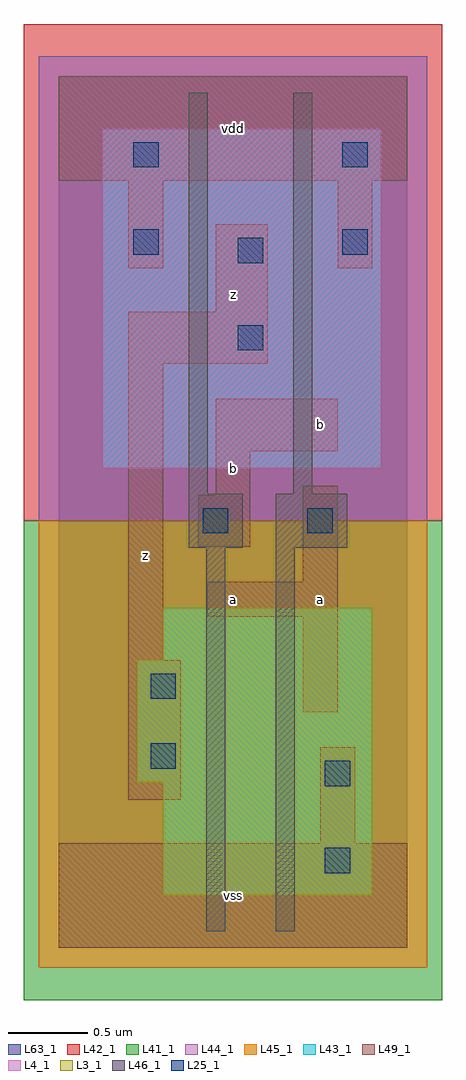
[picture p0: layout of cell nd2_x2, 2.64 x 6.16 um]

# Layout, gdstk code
import gdstk
lib = gdstk.Library(unit=1e-6, precision=1e-09)
def R(c, l, rs):  # rectangles x0, y0, x1, y1
    for r in rs: c.add(gdstk.rectangle(r[:2], r[2:], *l))
L3_1 = (3, 1)
L4_1 = (4, 1)
L25_1 = (25, 1)
L41_1 = (41, 1)
L42_1 = (42, 1)
L43_1 = (43, 1)
L44_1 = (44, 1)
L45_1 = (45, 1)
L46_1 = (46, 1)
L49_1 = (49, 1)
L63_1 = (63, 1)

nd2_x2 = lib.new_cell('nd2_x2')
R(nd2_x2, L3_1, [(0.66,0.33,1.98,1.045), (0.495,1.045,1.98,1.815), (0.66,1.815,1.98,2.145)])
R(nd2_x2, L4_1, [(0.275,3.025,2.035,5.17)])
R(nd2_x2, L25_1, [(1.68,0.47,1.84,0.63), (1.68,1.02,1.84,1.18), (0.58,1.13,0.74,1.29), (0.58,1.57,0.74,1.73), (0.91,2.615,1.07,2.775), (1.57,2.615,1.73,2.775), (1.13,3.77,1.29,3.93), (1.13,4.32,1.29,4.48), (0.47,4.375,0.63,4.535), (1.79,4.375,1.95,4.535), (0.47,4.925,0.63,5.085), (1.79,4.925,1.95,5.085)])
R(nd2_x2, L41_1, [(-0.22,-0.33,2.42,2.695)])
R(nd2_x2, L42_1, [(-0.22,2.695,2.42,5.83)])
R(nd2_x2, L43_1, [(0.66,0.33,1.98,1.045), (0.495,1.045,1.98,1.815), (0.66,1.815,1.98,2.145), (0.275,3.025,2.035,5.17)])
R(nd2_x2, L44_1, [(-0.125,2.695,2.325,5.625)])
R(nd2_x2, L45_1, [(-0.125,-0.125,2.325,2.695)])
R(nd2_x2, L46_1, [(0.93,0.105,1.05,2.525), (1.37,0.105,1.49,2.525), (0.82,2.525,1.16,2.865), (1.37,2.525,1.82,2.865), (0.82,2.865,0.94,5.395), (1.48,2.865,1.6,5.395)])
R(nd2_x2, L49_1, [(0,0,2.2,0.66), (1.65,0.66,1.87,1.265), (0.44,0.935,0.77,1.815), (1.54,1.485,1.76,2.09), (0.44,1.815,0.66,3.685), (0.935,2.09,1.76,2.31), (1.54,2.31,1.76,2.915), (0.88,2.53,1.21,2.86), (0.99,2.86,1.21,3.135), (0.99,3.135,1.76,3.465), (0.44,3.685,1.32,4.015), (0.99,4.015,1.32,4.565), (0.44,4.29,0.66,4.84), (1.76,4.29,1.98,4.84), (0,4.84,2.2,5.5)])
R(nd2_x2, L63_1, [(0,0,2.2,5.5)])
nd2_x2.add(gdstk.Label('z', (0.55,2.475), layer=49, texttype=1))
nd2_x2.add(gdstk.Label('z', (0.55,2.475), layer=49, texttype=1))
nd2_x2.add(gdstk.Label('vss', (1.1,0.33), layer=49, texttype=1))
nd2_x2.add(gdstk.Label('vss', (1.1,0.33), layer=49, texttype=1))
nd2_x2.add(gdstk.Label('a', (1.1,2.2), layer=49, texttype=1))
nd2_x2.add(gdstk.Label('a', (1.1,2.2), layer=49, texttype=1))
nd2_x2.add(gdstk.Label('b', (1.1,3.025), layer=49, texttype=1))
nd2_x2.add(gdstk.Label('b', (1.1,3.025), layer=49, texttype=1))
nd2_x2.add(gdstk.Label('z', (1.1,4.125), layer=49, texttype=1))
nd2_x2.add(gdstk.Label('z', (1.1,4.125), layer=49, texttype=1))
nd2_x2.add(gdstk.Label('vdd', (1.1,5.17), layer=49, texttype=1))
nd2_x2.add(gdstk.Label('vdd', (1.1,5.17), layer=49, texttype=1))
nd2_x2.add(gdstk.Label('a', (1.65,2.2), layer=49, texttype=1))
nd2_x2.add(gdstk.Label('a', (1.65,2.2), layer=49, texttype=1))
nd2_x2.add(gdstk.Label('b', (1.65,3.3), layer=49, texttype=1))
nd2_x2.add(gdstk.Label('b', (1.65,3.3), layer=49, texttype=1))

lib.write_gds('nd2_x2.gds')
